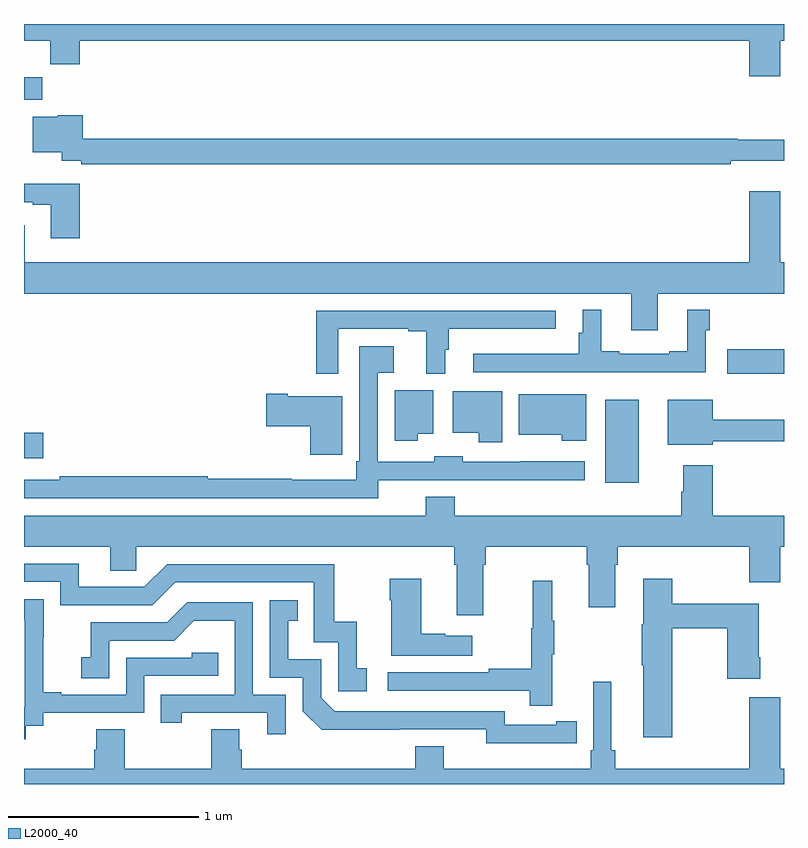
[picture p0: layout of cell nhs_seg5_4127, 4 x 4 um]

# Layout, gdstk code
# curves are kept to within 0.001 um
import gdstk
lib = gdstk.Library(unit=1e-6, precision=1e-09)
def R(c, l, rs):  # rectangles x0, y0, x1, y1
    for r in rs: c.add(gdstk.rectangle(r[:2], r[2:], *l))
def P(c, l, *ps):  # polygons
    for p in ps: c.add(gdstk.Polygon(p, *l))
L2000_40 = (2000, 40)

nhs_seg5_4127 = lib.new_cell('nhs_seg5_4127')
R(nhs_seg5_4127, L2000_40, [(356.06,902.384,356.236,902.821), (353,902.513,353.101,902.648), (356.7,902.957,357,903.087), (353,904.4,353.096,904.518)])
P(nhs_seg5_4127, L2000_40, [(353,904.712),(353.137,904.712),(353.137,904.588),(353.294,904.588),(353.294,904.712),(356.816,904.712),(356.816,904.524),(356.98,904.524),(356.98,904.712),(357,904.712),(357,904.799),(353,904.799)],
  [(356.72,904.079),(357,904.079),(357,904.189),(356.756,904.189),(356.756,904.196),(353.308,904.196),(353.308,904.318),(353.178,904.318),(353.178,904.312),(353.045,904.312),(353.045,904.124),(353.199,904.124),(353.199,904.08),(353.302,904.08),(353.302,904.06),(356.72,904.06)],
  [(353.294,903.958),(353,903.958),(353,903.861),(353.045,903.861),(353.045,903.849),(353.141,903.849),(353.141,903.672),(353.294,903.672)],
  [(356.335,903.38),(357,903.38),(357,903.544),(356.98,903.544),(356.98,903.919),(356.816,903.919),(356.816,903.544),(353.005,903.544),(353.005,903.739),(353,903.739),(353,903.38),(356.195,903.38),(356.195,903.186),(356.335,903.186)],
  [(356.589,903.188),(356.609,903.188),(356.609,903.295),(356.492,903.295),(356.492,903.076),(356.396,903.076),(356.396,903.063),(356.134,903.063),(356.134,903.076),(356.038,903.076),(356.038,903.295),(355.94,903.295),(355.94,903.174),(355.921,903.174),(355.921,903.064),(355.365,903.064),(355.365,902.967),(356.064,902.967),(356.064,902.966),(356.589,902.966)],
  [(354.654,903.195),(355.022,903.195),(355.022,903.183),(355.118,903.183),(355.118,902.958),(355.216,902.958),(355.216,903.084),(355.235,903.084),(355.235,903.194),(355.798,903.194),(355.798,903.291),(354.538,903.291),(354.538,902.958),(354.654,902.958)],
  [(354.864,902.399),(355.951,902.399),(355.951,902.497),(355.612,902.497),(355.612,902.496),(355.308,902.496),(355.308,902.524),(355.158,902.524),(355.158,902.496),(354.861,902.496),(354.861,902.963),(354.946,902.963),(354.946,903.103),(354.765,903.103),(354.765,902.497),(354.749,902.497),(354.749,902.401),(354.41,902.401),(354.41,902.405),(353.968,902.405),(353.968,902.42),(353.188,902.42),(353.188,902.4),(353,902.4),(353,902.304),(354.864,902.304)],
  [(355.072,902.642),(355.153,902.642),(355.153,902.872),(354.95,902.872),(354.95,902.606),(355.072,902.606)],
  [(355.516,902.866),(355.256,902.866),(355.256,902.648),(355.394,902.648),(355.394,902.598),(355.516,902.598)],
  [(354.675,902.635),(354.676,902.635),(354.676,902.839),(354.388,902.839),(354.388,902.852),(354.276,902.852),(354.276,902.681),(354.506,902.681),(354.506,902.532),(354.675,902.532)],
  [(355.96,902.851),(355.604,902.851),(355.604,902.636),(355.831,902.636),(355.831,902.606),(355.96,902.606)],
  [(356.626,902.604),(357,902.604),(357,902.715),(356.626,902.715),(356.626,902.821),(356.387,902.821),(356.387,902.585),(356.626,902.585)],
  [(355.417,901.952),(355.43,901.952),(355.43,902.048),(355.961,902.048),(355.961,901.952),(355.973,901.952),(355.973,901.728),(356.113,901.728),(356.113,901.952),(356.126,901.952),(356.126,902.048),(356.816,902.048),(356.816,901.86),(356.98,901.86),(356.98,902.048),(357,902.048),(357,902.212),(356.624,902.212),(356.624,902.476),(356.471,902.476),(356.471,902.336),(356.459,902.336),(356.459,902.212),(355.268,902.212),(355.268,902.311),(355.115,902.311),(355.115,902.212),(353,902.212),(353,902.048),(353.453,902.048),(353.453,901.921),(353.592,901.921),(353.592,902.048),(355.265,902.048),(355.265,901.952),(355.277,901.952),(355.277,901.686),(355.417,901.686)],
  [(354.805,901.407),(354.752,901.407),(354.752,901.654),(354.634,901.654),(354.634,901.956),(353.754,901.956),(353.634,901.836),(353.287,901.836),(353.287,901.959),(353,901.959),(353,901.863),(353.19,901.863),(353.19,901.74),(353.676,901.74),(353.796,901.86),(354.525,901.86),(354.525,901.545),(354.654,901.545),(354.654,901.287),(354.805,901.287)],
  [(355.36,901.579),(355.217,901.579),(355.217,901.589),(355.09,901.589),(355.09,901.879),(354.925,901.879),(354.925,901.766),(354.932,901.766),(354.932,901.475),(355.36,901.475)],
  [(356.412,901.618),(356.701,901.618),(356.701,901.353),(356.874,901.353),(356.874,901.465),(356.866,901.465),(356.866,901.747),(356.412,901.747),(356.412,901.879),(356.258,901.879),(356.258,901.641),(356.251,901.641),(356.251,901.423),(356.258,901.423),(356.258,901.044),(356.412,901.044)],
  [(355.781,901.483),(355.792,901.483),(355.792,901.657),(355.781,901.657),(355.781,901.87),(355.678,901.87),(355.678,901.62),(355.671,901.62),(355.671,901.406),(355.447,901.406),(355.447,901.386),(354.915,901.386),(354.915,901.29),(355.663,901.29),(355.663,901.212),(355.781,901.212)],
  [(353.008,901.105),(353.1,901.105),(353.1,901.173),(353.634,901.173),(353.634,901.368),(354.023,901.368),(354.023,901.491),(353.883,901.491),(353.883,901.464),(353.538,901.464),(353.538,901.269),(353.197,901.269),(353.197,901.282),(353.102,901.282),(353.102,901.565),(353.103,901.565),(353.103,901.771),(353,901.771),(353,901.661),(353.003,901.661),(353.003,901.433),(353.004,901.433),(353.004,901.203),(353,901.203),(353,901.035),(353.008,901.035)],
  [(355.802,901.014),(355.91,901.014),(355.91,901.13),(355.802,901.13),(355.802,901.11),(355.53,901.11),(355.53,901.182),(354.636,901.182),(354.564,901.254),(354.564,901.455),(354.391,901.455),(354.391,901.659),(354.44,901.659),(354.44,901.765),(354.294,901.765),(354.294,901.359),(354.468,901.359),(354.468,901.182),(354.566,901.085),(355.434,901.086),(355.434,901.013)],
  [(354.378,901.269),(354.204,901.269),(354.204,901.755),(353.858,901.755),(353.753,901.65),(353.35,901.65),(353.35,901.465),(353.301,901.465),(353.301,901.356),(353.448,901.356),(353.448,901.554),(353.79,901.554),(353.894,901.658),(354.108,901.658),(354.108,901.269),(353.719,901.269),(353.719,901.122),(353.83,901.122),(353.83,901.173),(354.281,901.173),(354.281,901.062),(354.378,901.062)],
  [(357,900.88),(356.98,900.88),(356.98,901.255),(356.816,901.255),(356.816,900.88),(356.111,900.88),(356.111,900.976),(356.092,900.976),(356.092,901.336),(355.995,901.336),(355.995,900.976),(355.982,900.976),(355.982,900.88),(355.21,900.88),(355.21,900.997),(355.058,900.997),(355.058,900.88),(354.146,900.88),(354.146,900.978),(354.133,900.978),(354.133,901.088),(353.986,901.088),(353.986,900.88),(353.529,900.88),(353.529,901.088),(353.381,901.088),(353.381,900.978),(353.369,900.978),(353.369,900.88),(353,900.88),(353,900.799),(357,900.799)])

lib.write_gds('nhs_seg5_4127.gds')
